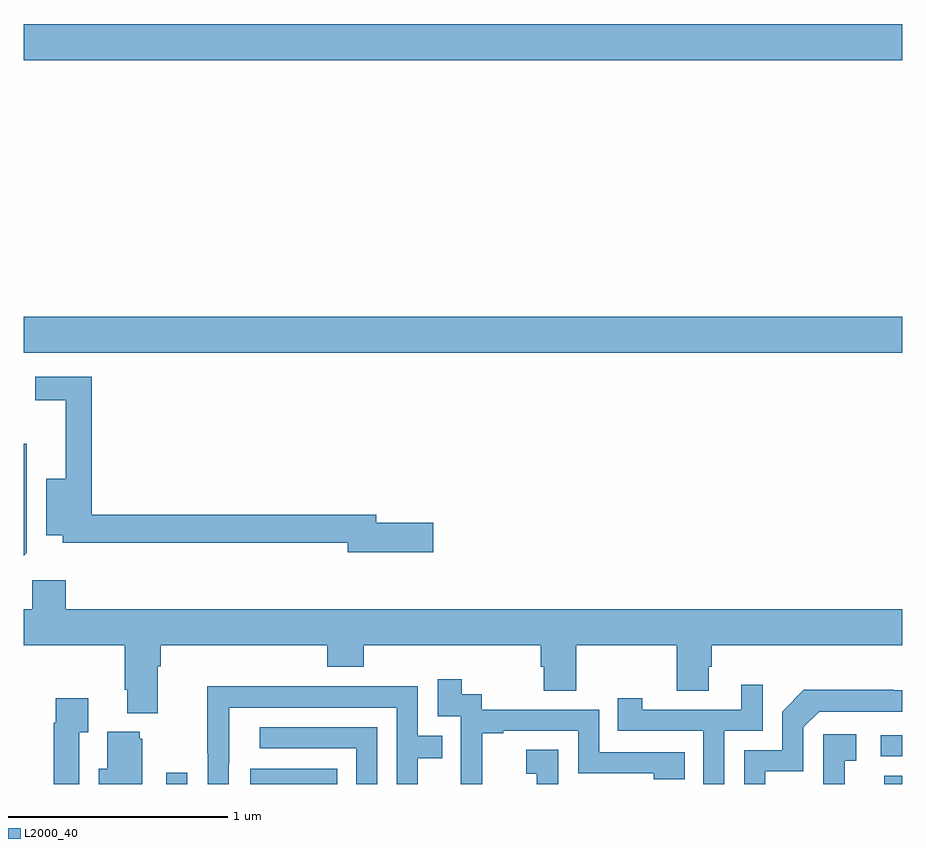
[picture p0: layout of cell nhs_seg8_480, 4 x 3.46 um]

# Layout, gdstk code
import gdstk
lib = gdstk.Library(unit=1e-6, precision=1e-09)
def R(c, l, rs):  # rectangles x0, y0, x1, y1
    for r in rs: c.add(gdstk.rectangle(r[:2], r[2:], *l))
def P(c, l, *ps):  # polygons
    for p in ps: c.add(gdstk.Polygon(p, *l))
L2000_40 = (2000, 40)

nhs_seg8_480 = lib.new_cell('nhs_seg8_480')
R(nhs_seg8_480, L2000_40, [(143.649,1083.9,143.745,1083.952), (144.032,1083.9,144.428,1083.97), (146.918,1083.9,147,1083.937), (146.901,1084.026,147,1084.122), (143,1085.864,147,1086.028), (143,1087.196,147,1087.36)])
P(nhs_seg8_480, L2000_40, [(144.865,1085.09),(144.604,1085.09),(144.604,1085.126),(143.309,1085.126),(143.309,1085.754),(143.052,1085.754),(143.052,1085.646),(143.192,1085.646),(143.192,1085.29),(143.102,1085.29),(143.102,1085.033),(143.178,1085.033),(143.178,1084.998),(144.476,1084.998),(144.476,1084.955),(144.865,1084.955)],
  [(143.013,1084.953),(143.013,1085.449),(143,1085.449),(143,1084.94)],
  [(143.192,1084.828),(143.04,1084.828),(143.04,1084.696),(143,1084.696),(143,1084.532),(143.459,1084.532),(143.459,1084.33),(143.471,1084.33),(143.471,1084.223),(143.611,1084.223),(143.611,1084.436),(143.624,1084.436),(143.624,1084.532),(144.383,1084.532),(144.383,1084.433),(144.548,1084.433),(144.548,1084.532),(145.355,1084.532),(145.355,1084.434),(145.367,1084.434),(145.367,1084.324),(145.515,1084.324),(145.515,1084.532),(145.972,1084.532),(145.972,1084.324),(146.119,1084.324),(146.119,1084.434),(146.132,1084.434),(146.132,1084.532),(147,1084.532),(147,1084.696),(143.192,1084.696)],
  [(145.088,1084.131),(145.183,1084.131),(145.183,1084.143),(145.524,1084.143),(145.524,1083.948),(145.869,1083.948),(145.869,1083.921),(146.009,1083.921),(146.009,1084.044),(145.62,1084.044),(145.62,1084.239),(145.086,1084.239),(145.086,1084.308),(144.994,1084.308),(144.994,1084.378),(144.885,1084.378),(144.885,1084.209),(144.99,1084.209),(144.99,1083.98),(144.989,1083.98),(144.989,1083.9),(145.088,1083.9)],
  [(146.19,1084.143),(146.364,1084.143),(146.364,1084.351),(146.267,1084.351),(146.267,1084.239),(145.816,1084.239),(145.816,1084.291),(145.705,1084.291),(145.705,1084.143),(146.094,1084.143),(146.094,1083.9),(146.19,1083.9)],
  [(143.934,1083.994),(143.935,1083.994),(143.935,1084.248),(144.699,1084.248),(144.699,1083.9),(144.795,1083.9),(144.795,1084.018),(144.905,1084.018),(144.905,1084.119),(144.795,1084.119),(144.795,1084.344),(144.299,1084.344),(144.299,1084.346),(143.836,1084.346),(143.836,1084.039),(143.838,1084.039),(143.838,1083.9),(143.934,1083.9)],
  [(146.377,1083.957),(146.55,1083.957),(146.55,1084.158),(146.622,1084.23),(147,1084.23),(147,1084.326),(146.96,1084.326),(146.96,1084.328),(146.552,1084.328),(146.454,1084.23),(146.454,1084.053),(146.28,1084.053),(146.28,1083.9),(146.377,1083.9)],
  [(143.253,1084.135),(143.293,1084.135),(143.293,1084.291),(143.145,1084.291),(143.145,1084.178),(143.137,1084.178),(143.137,1083.9),(143.253,1083.9)],
  [(144.609,1084.158),(144.075,1084.158),(144.075,1084.062),(144.513,1084.062),(144.513,1083.9),(144.609,1083.9)],
  [(143.539,1084.107),(143.528,1084.107),(143.528,1084.138),(143.381,1084.138),(143.381,1083.97),(143.342,1083.97),(143.342,1083.9),(143.539,1083.9)],
  [(146.738,1084.005),(146.791,1084.005),(146.791,1084.126),(146.64,1084.126),(146.64,1083.9),(146.738,1083.9)],
  [(145.434,1084.057),(145.287,1084.057),(145.287,1083.947),(145.336,1083.947),(145.336,1083.9),(145.434,1083.9)])

lib.write_gds('nhs_seg8_480.gds')
